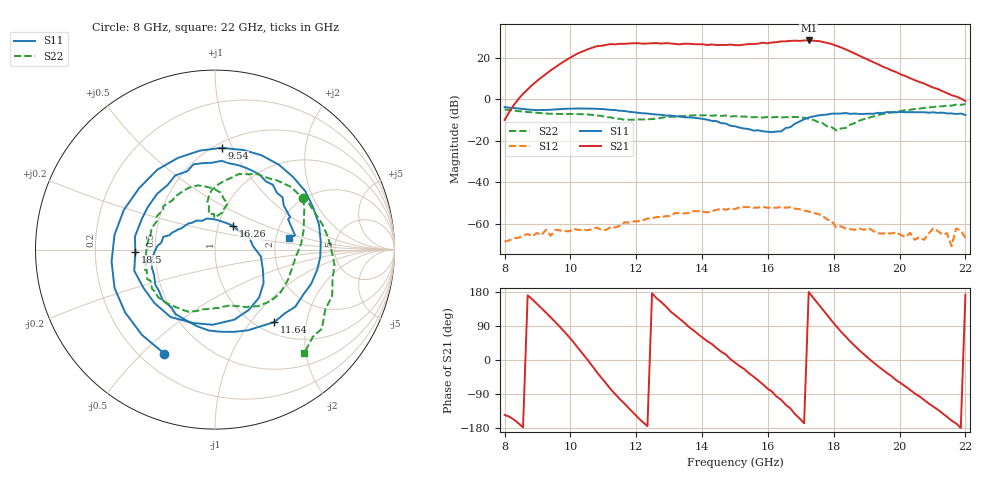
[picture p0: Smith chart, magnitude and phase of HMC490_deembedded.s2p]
!Hittite Microwave Corporation
!12 Elizabeth Drive
!Chelmsford, MA 01824
!Tel: 978-250-3343
!Fax: 978-250-3373
!Device: HMC490, 12-17 GHz, GaAs PHEMT MMIC Low Noise High IP3 Amplifier
!Misc: Vdd = 5 V, data includes two (K) connectors, Room
# MHZ S MA R 50
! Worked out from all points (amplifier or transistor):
!   101 points, 8 GHz to 22 GHz, reference 50 ohm
!   highest |S21| = 28.2 dB at 17.24 GHz (marker M1)
!   |S21| within 3 dB of that: 10.76 GHz to 18.16 GHz (7.404 GHz wide, 51.2 % of centre)
!   unconditionally stable (mu >= 1): start of sweep to end of sweep
!   at 10.24 GHz: K = 28.05, MAG = 25.0 dB, |S12| = -62.8 dB
!   at 15 GHz: K = 8.77, MAG = 26.9 dB, |S12| = -52.8 dB
!   at 22 GHz: K = 408.97, MAG = 3.7 dB, |S12| = -66.6 dB
!   S11 on the Smith chart (normalised r, x): 8 GHz: 0.30, -0.59; 9.54 GHz: 0.54, +0.91; 11.64 GHz: 1.19, -1.32; 16.26 GHz: 1.18, +0.32; 18.5 GHz: 0.39, -0.01; 22 GHz: 2.36, +0.38
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8000  0.645 -115.9  0.316 -145.0  0.000377 57.2  0.566 30.3
9540  0.568 86.3  5.858 100.3  0.0007252 48.1  0.443 -10.9
9960  0.592 53.0  9.601 60.5  0.0006713 62.8  0.441 -20.1
10380  0.595 23.3  14.14 15.6  0.0007436 43.5  0.436 -33.2
10800  0.588 -3.9  18.73 -31.7  0.0008211 31.5  0.405 -48.9
11220  0.553 -26.4  21.06 -76.8  0.0008461 44.1  0.366 -61.3
11640  0.522 -50.6  21.32 -114.8  0.001101 32.6  0.321 -74.4
12060  0.471 -76.7  22.06 -152.7  0.001169 30.6  0.327 -85.7
12760  0.421 -121.4  21.66 152.9  0.001472 18.6  0.356 -106.0
13600  0.366 -163.5  21.5 87.1  0.001848 -6.8  0.403 -132.4
14300  0.301 172.6  20.66 42.1  0.002046 -24.6  0.399 -154.2
15000  0.223 148.1  19.86 -6.7  0.002297 -50.4  0.391 -173.0
15560  0.176 114.0  21.13 -43.6  0.002466 -69.0  0.369 166.4
16260  0.167 52.1  23.44 -96.2  0.002472 -99.1  0.376 140.2
16680  0.212 5.6  25.13 -127.6  0.002536 -127.9  0.372 117.6
17240  0.363 -47.4  25.76 179.4  0.001996 -174.3  0.34 91.4
17380  0.385 -60.6  25.49 163.9  0.001853 175.1  0.319 84.3
17940  0.45 -123.5  21.11 103.4  0.001169 115.9  0.212 78.3
18500  0.444 -178.4  14.05 49.0  0.0007547 29.7  0.244 97.9
19060  0.448 136.1  8.739 4.1  0.000801 -34.9  0.357 88.6
19760  0.486 97.0  4.899 -43.0  0.0005963 -67.4  0.481 61.5
22000  0.418 9.1  0.905 172.3  0.0004679 -36.9  0.762 -49.3
